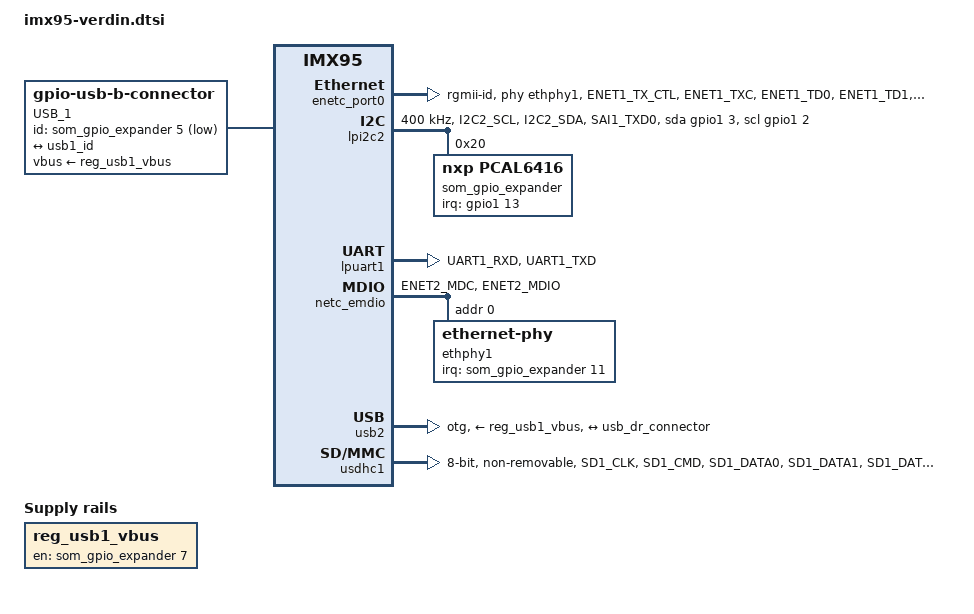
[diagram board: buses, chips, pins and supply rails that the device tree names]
// SPDX-License-Identifier: GPL-2.0-or-later OR MIT
/*
 * Copyright (C) 2025 Toradex
 *
 * Common dtsi for Verdin iMX95 SoM
 *
 * https://www.toradex.com/computer-on-modules/verdin-arm-family/nxp-imx95
 */

#include <dt-bindings/net/ti-dp83867.h>
#include "imx95.dtsi"

/ {
	aliases {
		ethernet0 = &enetc_port0;
		ethernet1 = &enetc_port1;
		mmc0 = &usdhc1;
		serial2 = &lpuart1;
	};

	chosen {
		stdout-path = "serial2:115200n8";
	};

	connector {
		compatible = "gpio-usb-b-connector", "usb-b-connector";
		/* Verdin USB_1_ID (SODIMM 161) */
		id-gpios = <&som_gpio_expander 5 GPIO_ACTIVE_LOW>;
		label = "USB_1";
		self-powered;
		vbus-supply = <&reg_usb1_vbus>;

		port {
			usb_dr_connector: endpoint {
				remote-endpoint = <&usb1_id>;
			};
		};
	};

	reg_usb1_vbus: regulator-usb1-vbus {
		compatible = "regulator-fixed";
		/* Verdin USB_1_EN (SODIMM 155) */
		gpios = <&som_gpio_expander 7 GPIO_ACTIVE_HIGH>;
		enable-active-high;
		regulator-name = "USB_1_EN";
	};
};

/* Verdin ETH_1 (On-module PHY) */
&enetc_port0 {
	pinctrl-names = "default";
	pinctrl-0 = <&pinctrl_enetc0>;
	phy-handle = <&ethphy1>;
	phy-mode = "rgmii-id";
};

/* On-module I2C */
&lpi2c2 {
	pinctrl-names = "default", "gpio";
	pinctrl-0 = <&pinctrl_lpi2c2>, <&pinctrl_io_exp_int>;
	pinctrl-1 = <&pinctrl_lpi2c2_gpio>, <&pinctrl_io_exp_int>;
	#address-cells = <1>;
	#size-cells = <0>;
	clock-frequency = <400000>;
	scl-gpios = <&gpio1 2 (GPIO_ACTIVE_HIGH | GPIO_OPEN_DRAIN)>;
	sda-gpios = <&gpio1 3 (GPIO_ACTIVE_HIGH | GPIO_OPEN_DRAIN)>;
	single-master;
	status = "okay";

	som_gpio_expander: gpio-expander@20 {
		compatible = "nxp,pcal6416";
		reg = <0x20>;
		#interrupt-cells = <2>;
		interrupt-controller;
		interrupt-parent = <&gpio1>;
		interrupts = <13 IRQ_TYPE_LEVEL_LOW>;
		#gpio-cells = <2>;
		gpio-controller;

		/*
		 * Switch USB to default position:
		 *   - SoC USB2 -> Verdin USB_1
		 *   - SoC USB1 -> Verdin USB_2
		 * Reset configuration:
		 *   - SoC USB1 -> Verdin USB_1 (USB recovery)
		 *   - SoC USB2 not connected
		 */
		usb_recov_ctrl: usb-recov-ctrl-hog {
			gpio-hog;
			gpios = <10 GPIO_ACTIVE_HIGH>;
			line-name = "USB_RECOV_CTRL#";
			output-high;
		};
	};
};

/* Verdin UART_3, used as the Linux console */
&lpuart1 {
	pinctrl-names = "default";
	pinctrl-0 = <&pinctrl_uart1>;
};

/* Verdin ETH_2_RGMII_MDIO, shared between all ethernet ports */
&netc_emdio {
	pinctrl-names = "default";
	pinctrl-0 = <&pinctrl_emdio>;
	status = "okay";

	ethphy1: ethernet-phy@0 {
		reg = <0>;
		interrupt-parent = <&som_gpio_expander>;
		interrupts = <11 IRQ_TYPE_EDGE_FALLING>;
		ti,rx-internal-delay = <DP83867_RGMIIDCTL_2_00_NS>;
		ti,tx-internal-delay = <DP83867_RGMIIDCTL_2_00_NS>;
	};
};

/* Verdin USB_1 */
&usb2 {
	dr_mode = "otg";
	adp-disable;
	hnp-disable;
	srp-disable;
	usb-role-switch;
	vbus-supply = <&reg_usb1_vbus>;

	port {
		usb1_id: endpoint {
			remote-endpoint = <&usb_dr_connector>;
		};
	};
};

/* On-module eMMC */
&usdhc1 {
	pinctrl-names = "default", "state_100mhz", "state_200mhz";
	pinctrl-0 = <&pinctrl_usdhc1>;
	pinctrl-1 = <&pinctrl_usdhc1>;
	pinctrl-2 = <&pinctrl_usdhc1_200mhz>;
	bus-width = <8>;
	non-removable;
	no-sdio;
	no-sd;
	status = "okay";
};

&scmi_iomuxc {
	/* Verdin ETH_2_RGMII_MDIO, shared between all ethernet ports */
	pinctrl_emdio: emdiogrp {
		fsl,pins = <IMX95_PAD_ENET2_MDC__NETCMIX_TOP_NETC_MDC	0x57e>, /* ENET2_MDC  */
			   <IMX95_PAD_ENET2_MDIO__NETCMIX_TOP_NETC_MDIO	0x97e>; /* ENET2_MDIO */
	};

	/* Verdin ETH_1 (On-module PHY) */
	pinctrl_enetc0: enetc0grp {
		fsl,pins = <IMX95_PAD_ENET1_TX_CTL__NETCMIX_TOP_ETH0_RGMII_TX_CTL	0x57e>, /* ENET1_TX_CTL */
			   <IMX95_PAD_ENET1_TXC__NETCMIX_TOP_ETH0_RGMII_TX_CLK		0x58e>, /* ENET1_TXC    */
			   <IMX95_PAD_ENET1_TD0__NETCMIX_TOP_ETH0_RGMII_TD0		0x57e>, /* ENET1_TDO    */
			   <IMX95_PAD_ENET1_TD1__NETCMIX_TOP_ETH0_RGMII_TD1		0x57e>, /* ENET1_TD1    */
			   <IMX95_PAD_ENET1_TD2__NETCMIX_TOP_ETH0_RGMII_TD2		0x57e>, /* ENET1_TD2    */
			   <IMX95_PAD_ENET1_TD3__NETCMIX_TOP_ETH0_RGMII_TD3		0x57e>, /* ENET1_TD3    */
			   <IMX95_PAD_ENET1_RX_CTL__NETCMIX_TOP_ETH0_RGMII_RX_CTL	0x57e>, /* ENET1_RX_CTL */
			   <IMX95_PAD_ENET1_RXC__NETCMIX_TOP_ETH0_RGMII_RX_CLK		0x58e>, /* ENET1_RXC    */
			   <IMX95_PAD_ENET1_RD0__NETCMIX_TOP_ETH0_RGMII_RD0		0x57e>, /* ENET1_RD0    */
			   <IMX95_PAD_ENET1_RD1__NETCMIX_TOP_ETH0_RGMII_RD1		0x57e>, /* ENET1_RD1    */
			   <IMX95_PAD_ENET1_RD2__NETCMIX_TOP_ETH0_RGMII_RD2		0x57e>, /* ENET1_RD2    */
			   <IMX95_PAD_ENET1_RD3__NETCMIX_TOP_ETH0_RGMII_RD3		0x57e>; /* ENET1_RD3    */
	};

	/* Verdin ETH_2_RGMII */
	pinctrl_enetc1: enetc1grp {
		fsl,pins = <IMX95_PAD_ENET2_TX_CTL__NETCMIX_TOP_ETH1_RGMII_TX_CTL	0x57e>, /* ENET2_TX_CTL */
			   <IMX95_PAD_ENET2_TXC__NETCMIX_TOP_ETH1_RGMII_TX_CLK		0x58e>, /* ENET2_TXC    */
			   <IMX95_PAD_ENET2_TD0__NETCMIX_TOP_ETH1_RGMII_TD0		0x57e>, /* ENET2_TD0    */
			   <IMX95_PAD_ENET2_TD1__NETCMIX_TOP_ETH1_RGMII_TD1		0x57e>, /* ENET2_TD1    */
			   <IMX95_PAD_ENET2_TD2__NETCMIX_TOP_ETH1_RGMII_TD2		0x57e>, /* ENET2_TD2    */
			   <IMX95_PAD_ENET2_TD3__NETCMIX_TOP_ETH1_RGMII_TD3		0x57e>, /* ENET2_TD3    */
			   <IMX95_PAD_ENET2_RX_CTL__NETCMIX_TOP_ETH1_RGMII_RX_CTL	0x57e>, /* ENET2_RX_CTL */
			   <IMX95_PAD_ENET2_RXC__NETCMIX_TOP_ETH1_RGMII_RX_CLK		0x58e>, /* ENET2_RXC    */
			   <IMX95_PAD_ENET2_RD0__NETCMIX_TOP_ETH1_RGMII_RD0		0x57e>, /* ENET2_RD0    */
			   <IMX95_PAD_ENET2_RD1__NETCMIX_TOP_ETH1_RGMII_RD1		0x57e>, /* ENET2_RD1    */
			   <IMX95_PAD_ENET2_RD2__NETCMIX_TOP_ETH1_RGMII_RD2		0x57e>, /* ENET2_RD2    */
			   <IMX95_PAD_ENET2_RD3__NETCMIX_TOP_ETH1_RGMII_RD3		0x57e>; /* ENET2_RD3    */
	};

	/* On-module I2C */
	pinctrl_lpi2c2: lpi2c2grp {
		fsl,pins = <IMX95_PAD_I2C2_SCL__AONMIX_TOP_LPI2C2_SCL	0x40001b9e>, /* CTRL_I2C_SCL */
			   <IMX95_PAD_I2C2_SDA__AONMIX_TOP_LPI2C2_SDA	0x40001b9e>; /* CTRL_I2C_SDA */
	};

	pinctrl_lpi2c2_gpio: lpi2c2gpiogrp {
		fsl,pins = <IMX95_PAD_I2C2_SCL__AONMIX_TOP_GPIO1_IO_BIT2	0x40001b9e>, /* CTRL_I2C_SCL */
			   <IMX95_PAD_I2C2_SDA__AONMIX_TOP_GPIO1_IO_BIT3	0x40001b9e>; /* CTRL_I2C_SDA */
	};

	pinctrl_io_exp_int: ioexpintgrp {
		fsl,pins = <IMX95_PAD_SAI1_TXD0__AONMIX_TOP_GPIO1_IO_BIT13	0x31e>; /* IO_EXP_INT */
	};

	/* Verdin UART_3, used as the Linux Console */
	pinctrl_uart1: uart1grp {
		fsl,pins = <IMX95_PAD_UART1_RXD__AONMIX_TOP_LPUART1_RX	0x31e>, /* SODIMM 147 */
			   <IMX95_PAD_UART1_TXD__AONMIX_TOP_LPUART1_TX	0x31e>; /* SODIMM 149 */
	};

	/* On-module eMMC */
	pinctrl_usdhc1: usdhc1grp {
		fsl,pins = <IMX95_PAD_SD1_CLK__USDHC1_CLK	0x158e>, /* SD1_CLK    */
			   <IMX95_PAD_SD1_CMD__USDHC1_CMD	0x138e>, /* SD1_CMD    */
			   <IMX95_PAD_SD1_DATA0__USDHC1_DATA0	0x138e>, /* SD1_DATA0  */
			   <IMX95_PAD_SD1_DATA1__USDHC1_DATA1	0x138e>, /* SD1_DATA1  */
			   <IMX95_PAD_SD1_DATA2__USDHC1_DATA2	0x138e>, /* SD1_DATA2  */
			   <IMX95_PAD_SD1_DATA3__USDHC1_DATA3	0x138e>, /* SD1_DATA3  */
			   <IMX95_PAD_SD1_DATA4__USDHC1_DATA4	0x138e>, /* SD1_DATA4  */
			   <IMX95_PAD_SD1_DATA5__USDHC1_DATA5	0x138e>, /* SD1_DATA5  */
			   <IMX95_PAD_SD1_DATA6__USDHC1_DATA6	0x138e>, /* SD1_DATA6  */
			   <IMX95_PAD_SD1_DATA7__USDHC1_DATA7	0x138e>, /* SD1_DATA7  */
			   <IMX95_PAD_SD1_STROBE__USDHC1_STROBE	0x158e>; /* SD1_STROBE */
	};

	pinctrl_usdhc1_200mhz: usdhc1-200mhzgrp {
		fsl,pins = <IMX95_PAD_SD1_CLK__USDHC1_CLK	0x15fe>, /* SD1_CLK    */
			   <IMX95_PAD_SD1_CMD__USDHC1_CMD	0x13fe>, /* SD1_CMD    */
			   <IMX95_PAD_SD1_DATA0__USDHC1_DATA0	0x13fe>, /* SD1_DATA0  */
			   <IMX95_PAD_SD1_DATA1__USDHC1_DATA1	0x13fe>, /* SD1_DATA1  */
			   <IMX95_PAD_SD1_DATA2__USDHC1_DATA2	0x13fe>, /* SD1_DATA2  */
			   <IMX95_PAD_SD1_DATA3__USDHC1_DATA3	0x13fe>, /* SD1_DATA3  */
			   <IMX95_PAD_SD1_DATA4__USDHC1_DATA4	0x13fe>, /* SD1_DATA4  */
			   <IMX95_PAD_SD1_DATA5__USDHC1_DATA5	0x13fe>, /* SD1_DATA5  */
			   <IMX95_PAD_SD1_DATA6__USDHC1_DATA6	0x13fe>, /* SD1_DATA6  */
			   <IMX95_PAD_SD1_DATA7__USDHC1_DATA7	0x13fe>, /* SD1_DATA7  */
			   <IMX95_PAD_SD1_STROBE__USDHC1_STROBE	0x15fe>; /* SD1_STROBE */
	};
};
